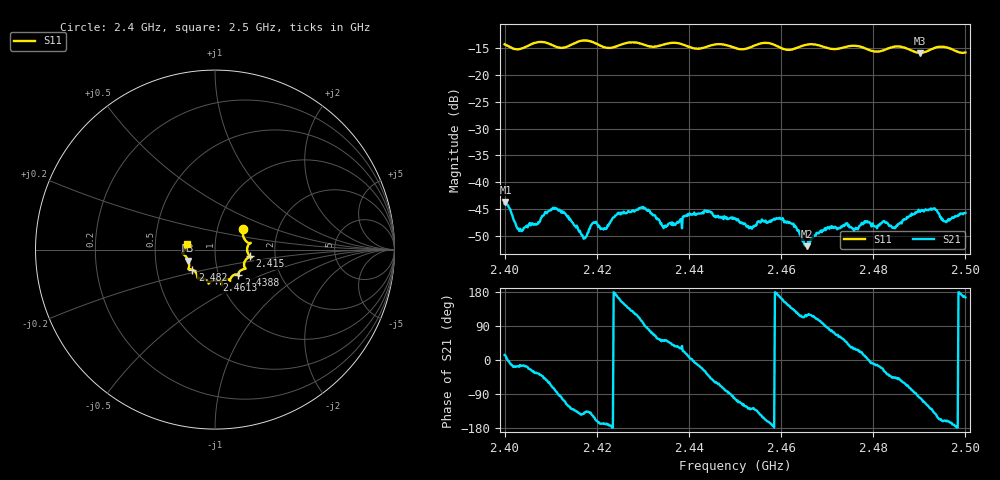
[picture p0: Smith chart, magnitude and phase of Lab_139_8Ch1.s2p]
# Hz S RI R 50
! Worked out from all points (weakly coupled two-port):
!   601 points, 2.4 GHz to 2.5 GHz, reference 50 ohm
!   highest |S21| = -43.66 dB at 2.4002 GHz (marker M1); lowest = -51.9 dB at 2.4657 GHz (marker M2)
!   lowest |S11| = -15.9 dB at 2.4902 GHz (marker M3), VSWR 1.38, Z = 36.8 - j4.64 ohm
!   |S11| at or under -10 dB: start of sweep to end of sweep
!   S12 and S22 are empty: the file has one direction only
!   S11 on the Smith chart (normalised r, x): 2.4 GHz: 1.33, +0.31; 2.415 GHz: 1.47, -0.11; 2.4388 GHz: 1.24, -0.36; 2.4613 GHz: 0.96, -0.34; 2.482 GHz: 0.76, -0.17; 2.5 GHz: 0.72, +0.05
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2.4e9  0.1571 0.1124  0.00613 0.00145  0 0  0 0
2.400167e9  0.1566 0.1103  0.00642 0.00134  0 0  0 0
2.403333e9  0.1646 0.0579  0.00359 -0.000842  0 0  0 0
2.410667e9  0.1851 0.0246  0.00152 -0.00543  0 0  0 0
2.415e9  0.1928 -0.0362  -0.00264 -0.00306  0 0  0 0
2.416667e9  0.2039 -0.0441  -0.00264 -0.00189  0 0  0 0
2.429667e9  0.1625 -0.108  -0.00136 0.00564  0 0  0 0
2.433333e9  0.1317 -0.1317  0.00254 0.00371  0 0  0 0
2.438833e9  0.1296 -0.1404  0.00443 0.00187  0 0  0 0
2.443833e9  0.0862 -0.1616  0.00429 -0.00311  0 0  0 0
2.45e9  0.0687 -0.1647  -0.00103 -0.00446  0 0  0 0
2.453333e9  0.037 -0.1772  -0.00249 -0.00294  0 0  0 0
2.461333e9  0.00804 -0.1713  -0.0036 0.00233  0 0  0 0
2.465667e9  -0.0347 -0.1886  -0.0012 0.00224  0 0  0 0
2.466667e9  -0.0348 -0.1903  -0.00136 0.00271  0 0  0 0
2.4705e9  -0.0484 -0.1696  0.000679 0.00363  0 0  0 0
2.482e9  -0.1259 -0.1118  0.00393 -0.00165  0 0  0 0
2.483333e9  -0.1398 -0.109  0.00314 -0.00248  0 0  0 0
2.490167e9  -0.1484 -0.0613  -0.000909 -0.00522  0 0  0 0
2.493333e9  -0.1771 -0.0247  -0.00442 -0.00363  0 0  0 0
2.495667e9  -0.1808 -0.018  -0.00407 -0.00144  0 0  0 0
2.5e9  -0.1586 0.0324  -0.005 0.00132  0 0  0 0
